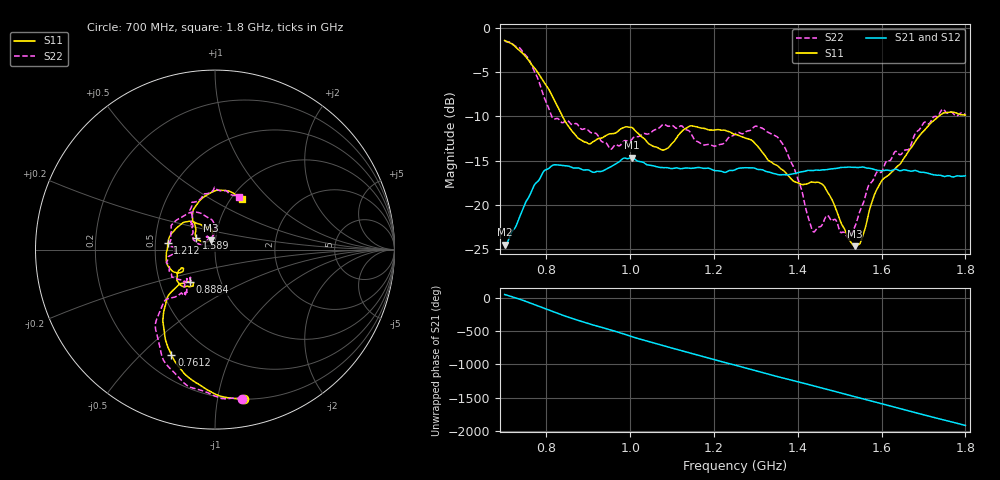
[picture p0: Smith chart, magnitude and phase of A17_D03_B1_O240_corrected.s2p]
! Created with skrf 1.9.0 (http://scikit-rf.org).
# Hz S RI R 50.0
!freq ReS11 ImS11 ReS21 ImS21 ReS12 ImS12 ReS22 ImS22
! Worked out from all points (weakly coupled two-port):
!   1601 points, 700 MHz to 1.8 GHz, reference 50 ohm
!   highest |S21| = -14.66 dB at 1.004 GHz (marker M1); lowest = -24.5 dB at 701.4 MHz (marker M2)
!   lowest |S11| = -24.7 dB at 1.535 GHz (marker M3), VSWR 1.12, Z = 47.3 + j5.02 ohm
!   |S11| at or under -10 dB: 838.1 MHz to 1.736 GHz (897.6 MHz wide, 69.7 % of centre)
!   |S22| runs from -23.8 to -1.5 dB; largest |S21 - S12| = 0.0035
!   S11 on the Smith chart (normalised r, x): 700 MHz: 0.20, -1.19; 761.2 MHz: 0.32, -0.62; 888.4 MHz: 0.71, -0.27; 1.212 GHz: 0.58, +0.05; 1.589 GHz: 0.81, +0.11; 1.8 GHz: 1.12, +0.71
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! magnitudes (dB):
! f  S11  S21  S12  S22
! 700 MHz  -1.4  -24.5  -24.3  -1.5
! 701.4 MHz  -1.5  -24.5  -24.1  -1.5
! 761.2 MHz  -3.9  -18.8  -18.7  -3.9
! 814.8 MHz  -7.8  -15.5  -15.6  -10.2
! 883.6 MHz  -12.7  -16.0  -15.9  -11.5
! 888.4 MHz  -12.8  -16.1  -16.0  -11.4
! 953 MHz  -12.0  -15.7  -15.7  -13.7
! 1.004 GHz  -11.3  -14.7  -14.8  -12.6
! 1.067 GHz  -13.6  -15.7  -15.7  -11.4
! 1.143 GHz  -11.1  -15.9  -15.8  -11.8
! 1.212 GHz  -11.5  -16.2  -16.1  -13.2
! 1.25 GHz  -12.0  -16.0  -16.0  -12.0
! 1.355 GHz  -15.7  -16.6  -16.5  -12.5
! 1.394 GHz  -17.4  -16.4  -16.4  -16.2
! 1.434 GHz  -17.4  -16.1  -16.1  -22.7
! 1.464 GHz  -18.0  -16.0  -16.0  -21.5
! 1.52 GHz  -23.7  -15.7  -15.7  -23.8
! 1.535 GHz  -24.7  -15.8  -15.8  -22.6
! 1.589 GHz  -18.2  -16.1  -16.1  -16.3
! 1.617 GHz  -16.6  -16.1  -16.1  -15.0
! 1.738 GHz  -9.9  -16.6  -16.7  -9.7
! 1.8 GHz  -9.9  -16.7  -16.7  -9.8
